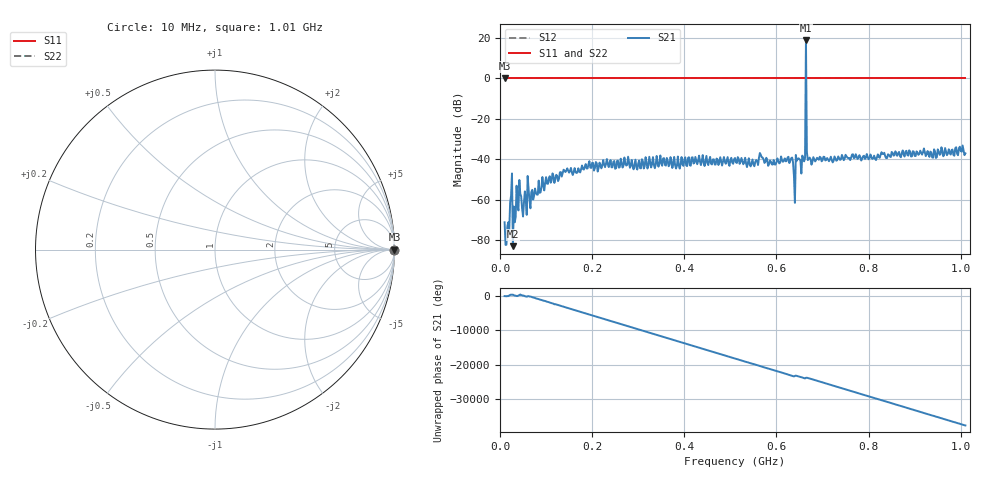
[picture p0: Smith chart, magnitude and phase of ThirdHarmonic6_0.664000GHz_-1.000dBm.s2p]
! 8/15/2025 10:05:22 PM
! C:\ANRITSUVNA\TEMP\TEMP.S2P
! CHANNEL.1
! TR.MEASUREMENT
! RAW.DATA
! RF.CORRECTION.OFF
! AVERAGING.OFF
! IF.BANDWIDTH: 5KHZ
! SWEEPTYPE:  FREQ.SWEEP(Linear)
! Reference Plane Port Info
! PORT:  PORT1  PORT2
! DISTANCE:  0  m  0  m
! TIME:  0  s  0  s
! PHASE.OFFSET:  0  deg.  0  deg.
! LOSS:  0  dB  0  dB
! REF.LOSS:  0  dB  0  dB
! REF.FREQ:  0  Hz  0  Hz
! Power Info
! POWER:  -20  dBm  -20  dBm
! EFF.POWER:  -20  dBm  -20  dBm
! SOURCE.ATTEN:  0  dB  0  dB
! TEST.ATTEN:  0  dB  0  dB
# GHZ S RI R 50.0
! FREQ.GHZ  S11RE  S11IM  S21RE  S21IM  S12RE  S12IM  S22RE  S22IM
!; PortSelection: Port_12
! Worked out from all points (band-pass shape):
!   501 points, 10 MHz to 1.01 GHz, reference 50 ohm
!   highest |S21| = 18.69 dB at 664 MHz (marker M1); lowest = -83.0 dB at 28 MHz (marker M2)
!   |S21| within 3 dB of the highest: 663.8968 MHz to 664.1086 MHz (211.8 kHz wide, 0.0319 % of centre)
!   lowest |S11| = 0.0 dB at 10 MHz (marker M3)
!   |S11| at or under -10 dB: nowhere
!   |S22| runs from 0.0 to 0.0 dB; largest |S21 - S12| = 7.6
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0.01  1 0  -0.000264 -7.63e-05  1 0  1 0
0.016  1 0  -0.000211 -6.36e-05  1 0  1 0
0.022  1 0  -0.00083 0.000173  1 0  1 0
0.028  1 0  -2.23e-05 -6.69e-05  1 0  1 0
0.032  1 0  0.000267 -6.43e-05  1 0  1 0
0.04  1 0  0.00054 2.16e-05  1 0  1 0
0.054  1 0  -0.00155 0.000405  1 0  1 0
0.058  1 0  0.000376 0.000186  1 0  1 0
0.104  1 0  0.00156 -0.00189  1 0  1 0
0.178  1 0  -0.00683 -0.00131  1 0  1 0
0.344  1 0  0.00647 -0.000806  1 0  1 0
0.51  1 0  -0.0103 0.00258  1 0  1 0
0.63  1 0  0.00573 0.00734  1 0  1 0
0.636  1 0  -0.00813 0.00123  1 0  1 0
0.658  1 0  0.0107 -0.000899  1 0  1 0
0.66  1 0  0.000638 -0.0088  1 0  1 0
0.664  1 0  8.476 1.468  1 0  1 0
0.668  1 0  0.00775 -0.00547  1 0  1 0
0.67  1 0  -0.00446 -0.00909  1 0  1 0
0.678  1 0  0.00227 -0.00827  1 0  1 0
0.844  1 0  -0.00191 0.0126  1 0  1 0
1.01  1 0  0.00533 -0.0128  1 0  1 0
